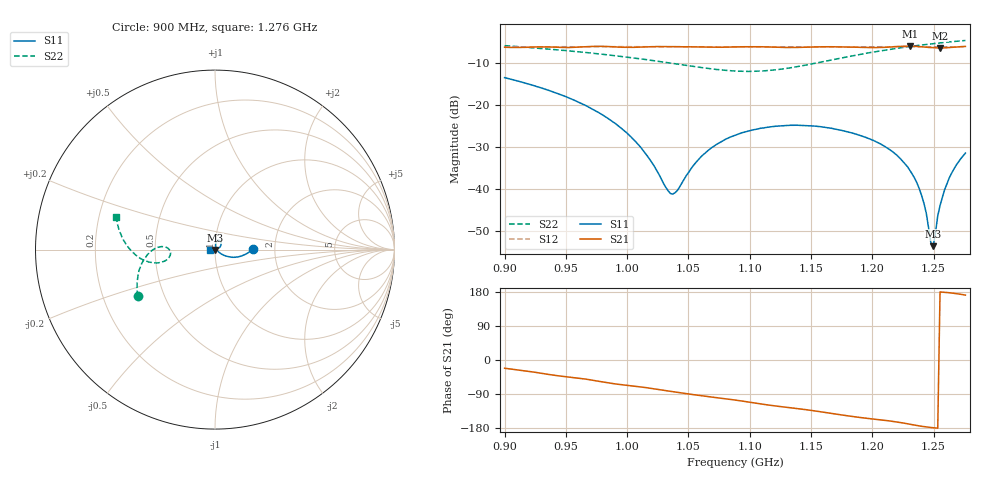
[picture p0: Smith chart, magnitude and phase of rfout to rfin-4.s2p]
!Agilent Technologies,E8358A,US41080382,A.04.25
!Agilent E8358A: A.04.25
!Date: Tuesday, October 25, 2016 18:48:43
!Correction: S11(Full 2 Port SOLT,1,2) S21(Full 2 Port SOLT,1,2) S12(Full 2 Port SOLT,1,2) S22(Full 2 Port SOLT,1,2)
!S2P File: Measurements: S11, S21, S12, S22:
# Hz S  dB  R 50
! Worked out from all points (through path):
!   201 points, 900 MHz to 1.276 GHz, reference 50 ohm
!   highest |S21| = -6.10 dB at 1.231 GHz (marker M1); lowest = -6.5 dB at 1.255 GHz (marker M2)
!   group delay of S21, straight-line fit = 1.24 ns
!   lowest |S11| = -53.6 dB at 1.25 GHz (marker M3), VSWR 1.00, Z = 50 - j0.208 ohm
!   |S11| at or under -10 dB: start of sweep to end of sweep
!   |S22| runs from -12.1 to -4.7 dB; largest |S21 - S12| = 0.017
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9e8  -13.58 0.5  -6.36 -21.7  -6.35 -21.1  -5.99 -149.0
9.6392e8  -19.91 -24.8  -6.27 -49.4  -6.27 -50.5  -7.56 -168.4
9.9964e8  -26.69 -34.4  -6.39 -66.8  -6.23 -66.8  -8.71 -177.3
1.01092e9  -30.09 -34.6  -6.33 -71.0  -6.24 -71.8  -9.15 -179.4
1.02596e9  -36.59 -22.5  -6.21 -78.0  -6.25 -78.5  -9.74 178.3
1.03348e9  -40.49 3.8  -6.20 -81.8  -6.24 -81.8  -10.07 177.5
1.03724e9  -41.24 26.8  -6.22 -83.6  -6.24 -83.6  -10.22 177.2
1.06168e9  -31.99 82.0  -6.32 -94.7  -6.28 -94.3  -11.23 177.2
1.088e9  -27.29 80.3  -6.30 -105.7  -6.26 -106.2  -11.99 -178.6
1.1162e9  -25.29 71.4  -6.30 -119.2  -6.31 -118.6  -11.87 -171.7
1.15192e9  -25.07 56.7  -6.29 -133.8  -6.28 -134.6  -10.24 -166.8
1.18576e9  -26.92 40.7  -6.35 -149.9  -6.29 -149.4  -8.29 -170.2
1.21396e9  -30.64 26.3  -6.31 -160.7  -6.26 -162.3  -6.90 -177.4
1.23088e9  -35.68 16.9  -6.10 -169.7  -6.26 -169.7  -6.19 177.5
1.24028e9  -41.60 6.9  -6.24 -175.0  -6.26 -173.8  -5.83 174.4
1.24404e9  -45.75 -4.1  -6.34 -176.7  -6.25 -175.7  -5.70 172.9
1.2478e9  -52.78 -39.1  -6.43 -178.1  -6.26 -177.4  -5.58 171.7
1.24968e9  -53.63 -91.8  -6.47 -178.8  -6.26 -178.2  -5.50 171.0
1.25344e9  -46.44 -140.9  -6.52 -179.8  -6.27 -179.9  -5.39 169.7
1.25532e9  -43.99 -148.7  -6.53 179.7  -6.26 179.3  -5.33 169.1
1.26284e9  -37.40 -161.8  -6.46 177.5  -6.26 175.9  -5.09 166.3
1.276e9  -31.52 -172.5  -6.17 171.3  -6.25 170.0  -4.75 161.7
